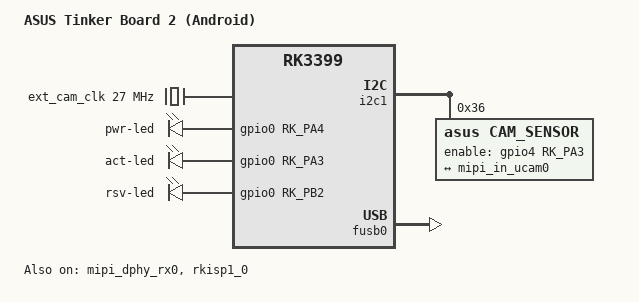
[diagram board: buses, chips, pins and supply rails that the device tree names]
// SPDX-License-Identifier: (GPL-2.0+ OR MIT)
/*
 * Copyright (c) 2018 Fuzhou Rockchip Electronics Co., Ltd
 */

/dts-v1/;
#include "tinker_board_2.dtsi"

/ {
	model = "ASUS Tinker Board 2 (Android)";
	compatible = "rockchip,android", "rockchip,tinker_board_2", "rockchip,rk3399";
	chosen: chosen {
	bootargs = "earlycon=uart8250,mmio32,0xff1a0000 swiotlb=1 console=ttyFIQ0 androidboot.baseband=N/A androidboot.veritymode=enforcing androidboot.hardware=rk30board androidboot.console=ttyFIQ0 init=/init initrd=0x62000001,0x00800000 coherent_pool=1m";
	};

	ext_cam_clk: external-camera-clock {
		compatible = "fixed-clock";
		clock-frequency = <27000000>;
		clock-output-names = "CLK_CAMERA_27MHZ";
		#clock-cells = <0>;
	};

	gpio-leds {
		compatible = "gpio-leds";

		pwr-led {
			gpios = <&gpio0 RK_PA4 GPIO_ACTIVE_HIGH>;
			linux,default-trigger = "default-on";
			retain-state-suspended = <1>;
		};

		act-led {
			gpios = <&gpio0 RK_PA3 GPIO_ACTIVE_HIGH>;
			linux,default-trigger="mmc0";
		};

		rsv-led {
			gpios = <&gpio0 RK_PB2 GPIO_ACTIVE_HIGH>;
			linux,default-trigger="none";
		};
	};
};

&i2c1 {
	status = "okay";

	cam_sensor: cam_sensor@36 {
		compatible = "asus,cam_sensor";
		status = "okay";
		reg = <0x36>;
		clocks = <&cru SCLK_CIF_OUT>;
		clock-names = "xvclk";

		pinctrl-names = "rockchip,camera_default";
		pinctrl-0 = <&cif_clkout>;

		enable-gpios = <&gpio4 RK_PA3 GPIO_ACTIVE_HIGH>;

		port {
			cam_sensor_out: endpoint {
				remote-endpoint = <&mipi_in_ucam0>;
				data-lanes = <1 2>;
			};
		};
	};

};

&mipi_dphy_rx0 {
	status = "okay";

	ports {
		#address-cells = <1>;
		#size-cells = <0>;

		port@0 {
			reg = <0>;
			#address-cells = <1>;
			#size-cells = <0>;

			mipi_in_ucam0: endpoint@1 {
				reg = <1>;
				remote-endpoint = <&cam_sensor_out>;
				data-lanes = <1 2>;
			};
		};

		port@1 {
			reg = <1>;
			#address-cells = <1>;
			#size-cells = <0>;

			dphy_rx0_out: endpoint@0 {
				reg = <0>;
				remote-endpoint = <&isp0_mipi_in>;
			};
		};
	};
};

&mipi_dphy_tx1rx1 {
	status = "disabled";
};

&pinctrl {
	hdmiin {
		tc35874x_gpios: tc35874x_gpios {
			rockchip,pins =
				/* PWREN_3.3 */
				<2 5 RK_FUNC_GPIO &pcfg_output_high>,
				/* PWREN_1.2 */
				<2 6 RK_FUNC_GPIO &pcfg_output_high>,
				/* HDMIIN_RST */
				<2 7 RK_FUNC_GPIO &pcfg_pull_none>,
				/* HDMIIN_STBY */
				<2 8 RK_FUNC_GPIO &pcfg_output_high>,
				/* MIPI_RST */
				<2 9 RK_FUNC_GPIO &pcfg_output_high>,
				/* CSI_CTL */
				<2 10 RK_FUNC_GPIO &pcfg_output_low>,
				/* HDMIIN_INT */
				<2 12 RK_FUNC_GPIO &pcfg_pull_none>;
		};
	};
};

&rkisp1_0 {
	status = "okay";
};

&rkisp1_1 {
	status = "disabled";
};

&isp1_mmu {
	status = "disabled";
};

&edp {
	status = "disabled";
};

&route_edp {
	status = "disabled";
};

&sgm3784 {
	status = "disabled";
};

&gsl3673 {
	status = "disabled";
};

&gc2145 {
	status = "disabled";
};

&ov13850 {
	status = "disabled";
};

&fusb0 {
	vbus-5v-gpios = <&gpio1 RK_PA3 GPIO_ACTIVE_HIGH>;
	status = "okay";
};

&sdmmc {
	sd-uhs-sdr12;
	sd-uhs-sdr25;
	sd-uhs-sdr50;
	sd-uhs-sdr104;
	supports-emmc;
};
